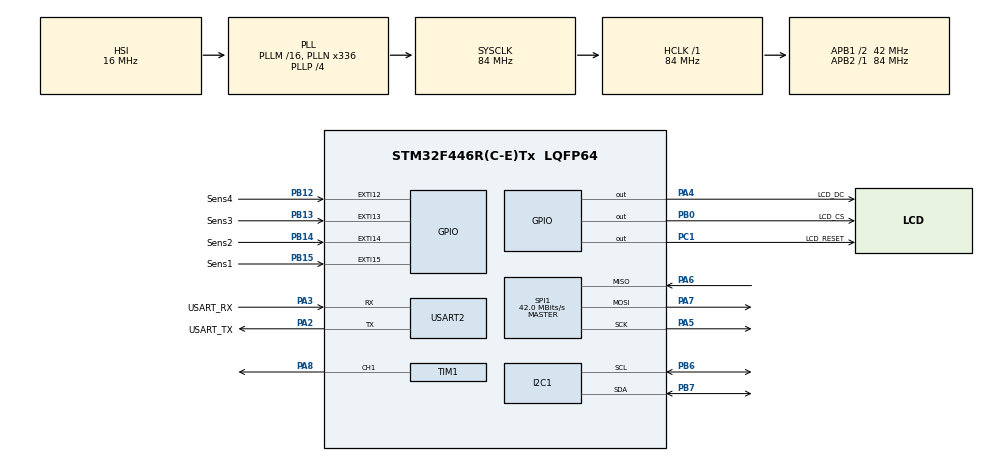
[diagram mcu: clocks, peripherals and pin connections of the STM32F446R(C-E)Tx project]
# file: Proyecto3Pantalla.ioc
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I2C1.OwnAddress=0x27
IWDG.Prescaler=IWDG_PRESCALER_64
Mcu.Family=STM32F4
Mcu.Name=STM32F446R(C-E)Tx
Mcu.Package=LQFP64
NVIC.EXTI15_10_IRQn=true\:0\:0\:false\:false\:true\:true\:true\:true
NVIC.I2C1_ER_IRQn=true\:0\:0\:false\:false\:true\:true\:true\:true
NVIC.I2C1_EV_IRQn=true\:0\:0\:false\:false\:true\:true\:true\:true
NVIC.PriorityGroup=NVIC_PRIORITYGROUP_0
PA13.GPIO_Label=TMS
PA13.Mode=Serial_Wire
PA13.Signal=SYS_JTMS-SWDIO
PA14.GPIO_Label=TCK
PA14.Mode=Serial_Wire
PA14.Signal=SYS_JTCK-SWCLK
PA2.GPIO_Label=USART_TX
PA2.Mode=Asynchronous
PA2.Signal=USART2_TX
PA3.GPIO_Label=USART_RX
PA3.Mode=Asynchronous
PA3.Signal=USART2_RX
PA4.GPIO_Label=LCD_DC
PA4.Signal=GPIO_Output
PA5.Mode=Full_Duplex_Master
PA5.Signal=SPI1_SCK
PA6.Mode=Full_Duplex_Master
PA6.Signal=SPI1_MISO
PA7.Mode=Full_Duplex_Master
PA7.Signal=SPI1_MOSI
PA8.Signal=S_TIM1_CH1
PB0.GPIO_Label=LCD_CS
PB0.Signal=GPIO_Output
PB12.GPIO_Label=Sens4
PB12.GPIO_ModeDefaultEXTI=GPIO_MODE_IT_RISING_FALLING
PB12.GPIO_PuPd=GPIO_PULLUP
PB12.Signal=GPXTI12
PB13.GPIO_Label=Sens3
PB13.GPIO_ModeDefaultEXTI=GPIO_MODE_IT_RISING_FALLING
PB13.GPIO_PuPd=GPIO_PULLUP
PB13.Signal=GPXTI13
PB14.GPIO_Label=Sens2
PB14.GPIO_ModeDefaultEXTI=GPIO_MODE_IT_RISING_FALLING
PB14.GPIO_PuPd=GPIO_PULLUP
PB14.Signal=GPXTI14
PB15.GPIO_Label=Sens1
PB15.GPIO_ModeDefaultEXTI=GPIO_MODE_IT_RISING_FALLING
PB15.GPIO_PuPd=GPIO_PULLUP
PB15.Signal=GPXTI15
PB3.GPIO_Label=SWO
PB3.Signal=SYS_JTDO-SWO
PB6.Mode=I2C
PB6.Signal=I2C1_SCL
PB7.Mode=I2C
PB7.Signal=I2C1_SDA
PC1.GPIO_Label=LCD_RESET
PC1.Signal=GPIO_Output
PC14-OSC32_IN.Mode=LSE-External-Oscillator
PC14-OSC32_IN.Signal=RCC_OSC32_IN
PC15-OSC32_OUT.Mode=LSE-External-Oscillator
PC15-OSC32_OUT.Signal=RCC_OSC32_OUT
PH0-OSC_IN.Mode=HSE-External-Oscillator
PH0-OSC_IN.Signal=RCC_OSC_IN
PH1-OSC_OUT.Mode=HSE-External-Oscillator
PH1-OSC_OUT.Signal=RCC_OSC_OUT
ProjectManager.HeapSize=0x200
ProjectManager.StackSize=0x400
ProjectManager.TargetToolchain=STM32CubeIDE
RCC.48MHZClocksFreq_Value=84000000
RCC.AHBFreq_Value=84000000
RCC.APB1CLKDivider=RCC_HCLK_DIV2
RCC.APB1Freq_Value=42000000
RCC.APB1TimFreq_Value=84000000
RCC.APB2Freq_Value=84000000
RCC.APB2TimFreq_Value=84000000
RCC.CortexFreq_Value=84000000
RCC.FLatency-AdvancedSettings=FLASH_LATENCY_2
RCC.HCLKFreq_Value=84000000
RCC.HSE_VALUE=8000000
RCC.HSI_VALUE=16000000
RCC.PLLN=336
RCC.PLLP=RCC_PLLP_DIV4
RCC.SYSCLKFreq_VALUE=84000000
RCC.SYSCLKSource=RCC_SYSCLKSOURCE_PLLCLK
RCC.USBFreq_Value=168000000
RCC.VCOOutputFreq_Value=336000000
SH.S_TIM1_CH1.0=TIM1_CH1,PWM Generation1 CH1
SPI1.CalculateBaudRate=42.0 MBits/s
SPI1.Direction=SPI_DIRECTION_2LINES
SPI1.Mode=SPI_MODE_MASTER
SPI1.VirtualType=VM_MASTER
TIM1.Channel-PWM\ Generation1\ CH1=TIM_CHANNEL_1
TIM1.Period=105-1
USART2.VirtualMode=VM_ASYNC
VP_IWDG_VS_IWDG.Mode=IWDG_Activate
VP_TIM1_VS_ClockSourceINT.Mode=Internal
board=NUCLEO-F446RE

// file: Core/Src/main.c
/* USER CODE BEGIN Header */
/**
  ******************************************************************************
  * @file           : main.c
  * @brief          : Main program body
  ******************************************************************************
  * @attention
  *
  * Copyright (c) 2026 STMicroelectronics.
  * All rights reserved.
  *
  * This software is licensed under terms that can be found in the LICENSE file
  * in the root directory of this software component.
  * If no LICENSE file comes with this software, it is provided AS-IS.
  *
  ******************************************************************************
  */
/* USER CODE END Header */
#include "main.h"

/* USER CODE BEGIN Includes */
#include "ili9341.h"
#include "bitmaps.h"
#include <string.h>
#include <stdio.h>
#include <NeoPixel.h>
/* USER CODE END Includes */

/* USER CODE BEGIN PD */
#define TXbuffersize 4
#define RXbuffersize 4
/* USER CODE END PD */

I2C_HandleTypeDef hi2c1;

IWDG_HandleTypeDef hiwdg;

SPI_HandleTypeDef hspi1;

TIM_HandleTypeDef htim1;

UART_HandleTypeDef huart2;

/* USER CODE BEGIN PV */
uint8_t ParqDisp = 8;
uint8_t prevSens1 = 1;
uint8_t prevSens2 = 1;
uint8_t prevSens3 = 1;
uint8_t prevSens4 = 1;
uint8_t l_flag = 0;
uint8_t EstadoParqueos = 0x00;
//Variables de I2C
int count=0;
uint8_t aTxBuffer[TXbuffersize];
uint8_t aRxBuffer[RXbuffersize];
volatile uint8_t flag_park_received = 0;
volatile uint8_t estadoParqueo_ESP32 = 0;
uint8_t prevEstadoESP32 = 0xFF;
//Variables de watchdog timmer para reiniciar comunicacion I2C
volatile uint32_t i2c_last_activity = 0;
volatile uint8_t i2c_error_flag = 0;
#define I2C_TIMEOUT_MS 5000

//Neopixeles
uint8_t RGB1[3];
uint8_t RGB2[3];
uint8_t RGB3[3];
uint8_t RGB4[3];
/* USER CODE END PV */

void SystemClock_Config(void);
static void MX_GPIO_Init(void);
static void MX_I2C1_Init(void);
static void MX_SPI1_Init(void);
static void MX_TIM1_Init(void);
static void MX_USART2_UART_Init(void);
static void MX_IWDG_Init(void);
/* USER CODE BEGIN PFP */
void update_neopixels();
void update_colors(uint8_t flagSensor, uint8_t RGB[2],uint8_t compare);
void update_park(uint8_t flagSensor);
/* USER CODE END PFP */

/* USER CODE BEGIN 0 */
void update_neopixels(){
	pixelClear();
	setPixelColor(0, RGB1[0], RGB1[1],RGB1[2]);
	setPixelColor(1, RGB2[0], RGB2[1],RGB2[2]);
	setPixelColor(2, RGB3[0], RGB3[1],RGB3[2]);
	setPixelColor(3, RGB4[0], RGB4[1],RGB4[2]);
	setBrightness(70);
	pixelShow();
}

//Esta funcion es para facilitar el cambio de color en base a flags
void update_colors(uint8_t flagSensor, uint8_t RGB[3],uint8_t compare){
	if ((flagSensor & compare) == compare){
		  RGB[1]=0;
		  RGB[0]=255;
	  }
	  else if ((flagSensor & (compare<<4)) == (compare<<4)){
		  RGB[0]=0;
		  RGB[1]=255;
	  }
}

void update_park(uint8_t flagSensor){
	update_colors(flagSensor, RGB1,0x01);
	update_colors(flagSensor, RGB2,0x02);
	update_colors(flagSensor, RGB3,0x04);
	update_colors(flagSensor, RGB4,0x08);
}
/* USER CODE END 0 */

int main(void)
{

  /* MCU Configuration--------------------------------------------------------*/

  /* Reset of all peripherals, Initializes the Flash interface and the Systick. */
  HAL_Init();

  /* Configure the system clock */
  SystemClock_Config();

  /* Initialize all configured peripherals */
  MX_GPIO_Init();
  MX_I2C1_Init();
  MX_SPI1_Init();
  MX_TIM1_Init();
  MX_USART2_UART_Init();
  MX_IWDG_Init();
  /* USER CODE BEGIN 2 */
  LCD_Init();

  LCD_Clear(0x00);
  LCD_Bitmap(0, 0, 320, 240, hs);

  // Detectar si el reset fue causado por el IWDG
    if (__HAL_RCC_GET_FLAG(RCC_FLAG_IWDGRST)){
        __HAL_RCC_CLEAR_RESET_FLAGS();
        HAL_UART_Transmit(&huart2,
            (uint8_t*)"Reset por IWDG - I2C recuperado\r\n", 33, 100);
    }
    if (HAL_I2C_EnableListen_IT(&hi2c1) != HAL_OK){
    	  Error_Handler();
      }
  /* USER CODE END 2 */

  /* Infinite loop */
  while (1)
  {

    /* USER CODE BEGIN 3 */
	  HAL_IWDG_Refresh(&hiwdg);

	  // Si hay un error en el i2c reinciara y se ejecutara esta instrucción.
	  /*
	  if (i2c_error_flag){
		  i2c_error_flag = 0;
		  // Azul = error detectado
		  RGB1[2]=255; RGB1[0]=0; RGB1[1]=0;
		  RGB2[2]=255; RGB2[0]=0; RGB2[1]=0;
		  RGB3[2]=255; RGB3[0]=0; RGB3[1]=0;
		  RGB4[2]=255; RGB4[0]=0; RGB4[1]=0;
		  update_neopixels();
		  HAL_Delay(500);
		  // Volver a verde
		  RGB1[2]=0; RGB1[1]=255; RGB1[0]=0;
		  RGB2[2]=0; RGB2[1]=255; RGB2[0]=0;
		  RGB3[2]=0; RGB3[1]=255; RGB3[0]=0;
		  RGB4[2]=0; RGB4[1]=255; RGB4[0]=0;
		  update_neopixels();
		  HAL_UART_Transmit(&huart2,
				(uint8_t*)"I2C Error recuperado\r\n", 22, 100);
		}
		*/
	  //Revision de parqueo 1 al 4 enviados por ESP32
	  if (flag_park_received){
	      flag_park_received = 0;

	      // Recorrer los 4 bits del estado remoto (parqueos 1-4)
	      for (int i = 0; i < 4; i++){
	          uint8_t bitActual  = (estadoParqueo_ESP32 >> i) & 0x01;
	          uint8_t bitAnterior = (prevEstadoESP32   >> i) & 0x01;

	          if (bitAnterior == 0 && bitActual == 1){
	              // Parqueo remoto i+1 se OCUPÓ
	              ParqDisp--;
	              l_flag = i + 1;  // parqueos 1,2,3,4 → l_flag 1,2,3,4 (LED rojo arriba)
	          }
	          else if (bitAnterior == 1 && bitActual == 0){
	              // Parqueo remoto i+1 se LIBERÓ
	              ParqDisp++;
	              l_flag = i + 9;  // parqueos 1,2,3,4 → l_flag 9,10,11,12 (LED verde arriba)
	          }
	      }

	      prevEstadoESP32 = estadoParqueo_ESP32;
	  }

	  // Watchdog I2C Segunda contramedida para revivir comunicacion I2C
	  	  if (i2c_last_activity != 0 &&
	  	     (HAL_GetTick() - i2c_last_activity) > I2C_TIMEOUT_MS){
	  		  HAL_UART_Transmit(&huart2, (uint8_t*)"Watchdog I2C activado\r\n", 23, 100);
	  		  i2c_last_activity = HAL_GetTick();
	  		  // Reiniciar el I2C si lleva más de 5s sin actividad
	  		  HAL_I2C_DeInit(&hi2c1);
	  		  HAL_Delay(10);
	  		  HAL_I2C_Init(&hi2c1);
	  		  HAL_I2C_EnableListen_IT(&hi2c1);
	  	  }
	  	HAL_Delay(10);

	  switch (ParqDisp){
	  case 8:
		  LCD_Bitmap(40, 107, 18, 26, ocho);
		  break;
	  case 7:
		  LCD_Bitmap(40, 107, 18, 26, siete);
		  break;
	  case 6:
		  LCD_Bitmap(40, 107, 18, 26, seis);
		  break;
	  case 5:
		  LCD_Bitmap(40, 107, 18, 26, cinco);
		  break;
	  case 4:
		  LCD_Bitmap(40, 107, 18, 26, cuatro);
		  break;
	  case 3:
		  LCD_Bitmap(40, 107, 18, 26, tres);
		  break;
	  case 2:
		  LCD_Bitmap(40, 107, 18, 26, dos);
		  break;
	  case 1:
		  LCD_Bitmap(40, 107, 18, 26, uno);
		  break;
	  case 0:
		  LCD_Bitmap(40, 107, 18, 26, cero);
		  break;

	  }
	  switch (l_flag)
	  	  {
	  	  case 1:
	  		  LCD_Bitmap(96,16, 16, 16, redL);
	  		  break;
	  	  case 2:
	  		  LCD_Bitmap(160,16, 16, 16, redL);
	  		  break;
	  	  case 3:
	  		  LCD_Bitmap(224,16, 16, 16, redL);
	  		  break;
	  	  case 4:
	  		  LCD_Bitmap(288,16, 16, 16, redL);
	  		  break;
	  	  case 5:
	  		  LCD_Bitmap(96,208, 16, 16, redL);
	  		  break;
	  	  case 6:
	  		  LCD_Bitmap(160,208, 16, 16, redL);
	  		  break;
	  	  case 7:
	  		  LCD_Bitmap(224,205, 16, 16, redL);
	  		  break;
	  	  case 8:
	  		  LCD_Bitmap(288,205, 16, 16, redL);
	  		  break;
	  	  case 9:
	  		  LCD_Bitmap(96,16, 16, 16, greenL);
	  		  break;
	  	  case 10:
	  		  LCD_Bitmap(160,16, 16, 16, greenL);
	  		  break;
	  	  case 11:
	  		  LCD_Bitmap(224,16, 16, 16, greenL);
	  		  break;
	  	  case 12:
	  		  LCD_Bitmap(288,16, 16, 16, greenL);
	  		  break;
	  	  case 13:
	  		  LCD_Bitmap(96,208, 16, 16, greenL);
	  		  break;
	  	  case 14:
	  		  LCD_Bitmap(160,208, 16, 16, greenL);
	  		  break;
	  	  case 15:
	  		  LCD_Bitmap(224,208, 16, 16, greenL);
	  		  break;
	  	  case 16:
	  		  LCD_Bitmap(288,208, 16, 16, greenL);
	  		  break;
	  	  }
  }
  /* USER CODE END 3 */
}

void SystemClock_Config(void)
{
  RCC_OscInitTypeDef RCC_OscInitStruct = {0};
  RCC_ClkInitTypeDef RCC_ClkInitStruct = {0};

  /** Configure the main internal regulator output voltage
  */
  __HAL_RCC_PWR_CLK_ENABLE();
  __HAL_PWR_VOLTAGESCALING_CONFIG(PWR_REGULATOR_VOLTAGE_SCALE3);

  /** Initializes the RCC Oscillators according to the specified parameters
  * in the RCC_OscInitTypeDef structure.
  */
  RCC_OscInitStruct.OscillatorType = RCC_OSCILLATORTYPE_HSI|RCC_OSCILLATORTYPE_LSI;
  RCC_OscInitStruct.HSIState = RCC_HSI_ON;
  RCC_OscInitStruct.HSICalibrationValue = RCC_HSICALIBRATION_DEFAULT;
  RCC_OscInitStruct.LSIState = RCC_LSI_ON;
  RCC_OscInitStruct.PLL.PLLState = RCC_PLL_ON;
  RCC_OscInitStruct.PLL.PLLSource = RCC_PLLSOURCE_HSI;
  RCC_OscInitStruct.PLL.PLLM = 16;
  RCC_OscInitStruct.PLL.PLLN = 336;
  RCC_OscInitStruct.PLL.PLLP = RCC_PLLP_DIV4;
  RCC_OscInitStruct.PLL.PLLQ = 2;
  RCC_OscInitStruct.PLL.PLLR = 2;
  if (HAL_RCC_OscConfig(&RCC_OscInitStruct) != HAL_OK)
  {
    Error_Handler();
  }

  /** Initializes the CPU, AHB and APB buses clocks
  */
  RCC_ClkInitStruct.ClockType = RCC_CLOCKTYPE_HCLK|RCC_CLOCKTYPE_SYSCLK
                              |RCC_CLOCKTYPE_PCLK1|RCC_CLOCKTYPE_PCLK2;
  RCC_ClkInitStruct.SYSCLKSource = RCC_SYSCLKSOURCE_PLLCLK;
  RCC_ClkInitStruct.AHBCLKDivider = RCC_SYSCLK_DIV1;
  RCC_ClkInitStruct.APB1CLKDivider = RCC_HCLK_DIV2;
  RCC_ClkInitStruct.APB2CLKDivider = RCC_HCLK_DIV1;

  if (HAL_RCC_ClockConfig(&RCC_ClkInitStruct, FLASH_LATENCY_2) != HAL_OK)
  {
    Error_Handler();
  }
}

static void MX_I2C1_Init(void)
{

  hi2c1.Instance = I2C1;
  hi2c1.Init.ClockSpeed = 100000;
  hi2c1.Init.DutyCycle = I2C_DUTYCYCLE_2;
  hi2c1.Init.OwnAddress1 = 78;
  hi2c1.Init.AddressingMode = I2C_ADDRESSINGMODE_7BIT;
  hi2c1.Init.DualAddressMode = I2C_DUALADDRESS_DISABLE;
  hi2c1.Init.OwnAddress2 = 0;
  hi2c1.Init.GeneralCallMode = I2C_GENERALCALL_DISABLE;
  hi2c1.Init.NoStretchMode = I2C_NOSTRETCH_DISABLE;
  if (HAL_I2C_Init(&hi2c1) != HAL_OK)
  {
    Error_Handler();
  }

}

static void MX_IWDG_Init(void)
{

  hiwdg.Instance = IWDG;
  hiwdg.Init.Prescaler = IWDG_PRESCALER_64;
  hiwdg.Init.Reload = 4095;
  if (HAL_IWDG_Init(&hiwdg) != HAL_OK)
  {
    Error_Handler();
  }

}

static void MX_SPI1_Init(void)
{

  /* SPI1 parameter configuration*/
  hspi1.Instance = SPI1;
  hspi1.Init.Mode = SPI_MODE_MASTER;
  hspi1.Init.Direction = SPI_DIRECTION_2LINES;
  hspi1.Init.DataSize = SPI_DATASIZE_8BIT;
  hspi1.Init.CLKPolarity = SPI_POLARITY_LOW;
  hspi1.Init.CLKPhase = SPI_PHASE_1EDGE;
  hspi1.Init.NSS = SPI_NSS_SOFT;
  hspi1.Init.BaudRatePrescaler = SPI_BAUDRATEPRESCALER_2;
  hspi1.Init.FirstBit = SPI_FIRSTBIT_MSB;
  hspi1.Init.TIMode = SPI_TIMODE_DISABLE;
  hspi1.Init.CRCCalculation = SPI_CRCCALCULATION_DISABLE;
  hspi1.Init.CRCPolynomial = 10;
  if (HAL_SPI_Init(&hspi1) != HAL_OK)
  {
    Error_Handler();
  }

}

static void MX_TIM1_Init(void)
{

  TIM_ClockConfigTypeDef sClockSourceConfig = {0};
  TIM_MasterConfigTypeDef sMasterConfig = {0};
  TIM_OC_InitTypeDef sConfigOC = {0};
  TIM_BreakDeadTimeConfigTypeDef sBreakDeadTimeConfig = {0};

  htim1.Instance = TIM1;
  htim1.Init.Prescaler = 0;
  htim1.Init.CounterMode = TIM_COUNTERMODE_UP;
  htim1.Init.Period = 105-1;
  htim1.Init.ClockDivision = TIM_CLOCKDIVISION_DIV1;
  htim1.Init.RepetitionCounter = 0;
  htim1.Init.AutoReloadPreload = TIM_AUTORELOAD_PRELOAD_DISABLE;
  if (HAL_TIM_Base_Init(&htim1) != HAL_OK)
  {
    Error_Handler();
  }
  sClockSourceConfig.ClockSource = TIM_CLOCKSOURCE_INTERNAL;
  if (HAL_TIM_ConfigClockSource(&htim1, &sClockSourceConfig) != HAL_OK)
  {
    Error_Handler();
  }
  if (HAL_TIM_PWM_Init(&htim1) != HAL_OK)
  {
    Error_Handler();
  }
  sMasterConfig.MasterOutputTrigger = TIM_TRGO_RESET;
  sMasterConfig.MasterSlaveMode = TIM_MASTERSLAVEMODE_DISABLE;
  if (HAL_TIMEx_MasterConfigSynchronization(&htim1, &sMasterConfig) != HAL_OK)
  {
    Error_Handler();
  }
  sConfigOC.OCMode = TIM_OCMODE_PWM1;
  sConfigOC.Pulse = 0;
  sConfigOC.OCPolarity = TIM_OCPOLARITY_HIGH;
  sConfigOC.OCNPolarity = TIM_OCNPOLARITY_HIGH;
  sConfigOC.OCFastMode = TIM_OCFAST_DISABLE;
  sConfigOC.OCIdleState = TIM_OCIDLESTATE_RESET;
  sConfigOC.OCNIdleState = TIM_OCNIDLESTATE_RESET;
  if (HAL_TIM_PWM_ConfigChannel(&htim1, &sConfigOC, TIM_CHANNEL_1) != HAL_OK)
  {
    Error_Handler();
  }
  sBreakDeadTimeConfig.OffStateRunMode = TIM_OSSR_DISABLE;
  sBreakDeadTimeConfig.OffStateIDLEMode = TIM_OSSI_DISABLE;
  sBreakDeadTimeConfig.LockLevel = TIM_LOCKLEVEL_OFF;
  sBreakDeadTimeConfig.DeadTime = 0;
  sBreakDeadTimeConfig.BreakState = TIM_BREAK_DISABLE;
  sBreakDeadTimeConfig.BreakPolarity = TIM_BREAKPOLARITY_HIGH;
  sBreakDeadTimeConfig.AutomaticOutput = TIM_AUTOMATICOUTPUT_DISABLE;
  if (HAL_TIMEx_ConfigBreakDeadTime(&htim1, &sBreakDeadTimeConfig) != HAL_OK)
  {
    Error_Handler();
  }
  HAL_TIM_MspPostInit(&htim1);

}

static void MX_USART2_UART_Init(void)
{

  huart2.Instance = USART2;
  huart2.Init.BaudRate = 115200;
  huart2.Init.WordLength = UART_WORDLENGTH_8B;
  huart2.Init.StopBits = UART_STOPBITS_1;
  huart2.Init.Parity = UART_PARITY_NONE;
  huart2.Init.Mode = UART_MODE_TX_RX;
  huart2.Init.HwFlowCtl = UART_HWCONTROL_NONE;
  huart2.Init.OverSampling = UART_OVERSAMPLING_16;
  if (HAL_UART_Init(&huart2) != HAL_OK)
  {
    Error_Handler();
  }

}

static void MX_GPIO_Init(void)
{
  GPIO_InitTypeDef GPIO_InitStruct = {0};

  /* GPIO Ports Clock Enable */
  __HAL_RCC_GPIOC_CLK_ENABLE();
  __HAL_RCC_GPIOH_CLK_ENABLE();
  __HAL_RCC_GPIOA_CLK_ENABLE();
  __HAL_RCC_GPIOB_CLK_ENABLE();

  /*Configure GPIO pin Output Level */
  HAL_GPIO_WritePin(LCD_RESET_GPIO_Port, LCD_RESET_Pin, GPIO_PIN_RESET);

  /*Configure GPIO pin Output Level */
  HAL_GPIO_WritePin(LCD_DC_GPIO_Port, LCD_DC_Pin, GPIO_PIN_RESET);

  /*Configure GPIO pin Output Level */
  HAL_GPIO_WritePin(LCD_CS_GPIO_Port, LCD_CS_Pin, GPIO_PIN_RESET);

  /*Configure GPIO pin : LCD_RESET_Pin */
  GPIO_InitStruct.Pin = LCD_RESET_Pin;
  GPIO_InitStruct.Mode = GPIO_MODE_OUTPUT_PP;
  GPIO_InitStruct.Pull = GPIO_NOPULL;
  GPIO_InitStruct.Speed = GPIO_SPEED_FREQ_LOW;
  HAL_GPIO_Init(LCD_RESET_GPIO_Port, &GPIO_InitStruct);

  /*Configure GPIO pin : LCD_DC_Pin */
  GPIO_InitStruct.Pin = LCD_DC_Pin;
  GPIO_InitStruct.Mode = GPIO_MODE_OUTPUT_PP;
  GPIO_InitStruct.Pull = GPIO_NOPULL;
  GPIO_InitStruct.Speed = GPIO_SPEED_FREQ_LOW;
  HAL_GPIO_Init(LCD_DC_GPIO_Port, &GPIO_InitStruct);

  /*Configure GPIO pin : LCD_CS_Pin */
  GPIO_InitStruct.Pin = LCD_CS_Pin;
  GPIO_InitStruct.Mode = GPIO_MODE_OUTPUT_PP;
  GPIO_InitStruct.Pull = GPIO_NOPULL;
  GPIO_InitStruct.Speed = GPIO_SPEED_FREQ_LOW;
  HAL_GPIO_Init(LCD_CS_GPIO_Port, &GPIO_InitStruct);

  /*Configure GPIO pins : Sens4_Pin Sens3_Pin Sens2_Pin Sens1_Pin */
  GPIO_InitStruct.Pin = Sens4_Pin|Sens3_Pin|Sens2_Pin|Sens1_Pin;
  GPIO_InitStruct.Mode = GPIO_MODE_IT_RISING_FALLING;
  GPIO_InitStruct.Pull = GPIO_PULLUP;
  HAL_GPIO_Init(GPIOB, &GPIO_InitStruct);

  /* EXTI interrupt init*/
  HAL_NVIC_SetPriority(EXTI15_10_IRQn, 0, 0);
  HAL_NVIC_EnableIRQ(EXTI15_10_IRQn);

}

/* USER CODE BEGIN 4 */
void HAL_GPIO_EXTI_Callback(uint16_t GPIO_Pin)
{
    if (GPIO_Pin == Sens1_Pin)
    {
        uint8_t curr = HAL_GPIO_ReadPin(GPIOB, Sens1_Pin);

        if (prevSens1 == 1 && curr == 0)
        {
            ParqDisp--;
            EstadoParqueos |= (1 << 0);
            l_flag = 5;
        }
        else if (prevSens1 == 0 && curr == 1)
        {
            ParqDisp++;
            EstadoParqueos &= ~(1 << 0);
            l_flag = 13;
        }

        prevSens1 = curr;
    }
    else if (GPIO_Pin == Sens2_Pin)
    {
        uint8_t curr = HAL_GPIO_ReadPin(GPIOB, Sens2_Pin);

        if (prevSens2 == 1 && curr == 0)
        {
            ParqDisp--;
            EstadoParqueos |= (1 << 1);
            l_flag = 6;
        }
        else if (prevSens2 == 0 && curr == 1)
        {
            ParqDisp++;
            EstadoParqueos &= ~(1 << 1);
            l_flag = 14;
        }

        prevSens2 = curr;
    }
    else if (GPIO_Pin == Sens3_Pin)
    {
        uint8_t curr = HAL_GPIO_ReadPin(GPIOB, Sens3_Pin);

        if (prevSens3 == 1 && curr == 0)
        {
            ParqDisp--;
            EstadoParqueos |= (1 << 2);
            l_flag = 7;
        }
        else if (prevSens3 == 0 && curr == 1)
        {
            ParqDisp++;
            EstadoParqueos &= ~(1 << 2);
            l_flag = 15;
        }

        prevSens3 = curr;
    }
    else if (GPIO_Pin == Sens4_Pin)
    {
        uint8_t curr = HAL_GPIO_ReadPin(GPIOB, Sens4_Pin);

        if (prevSens4 == 1 && curr == 0)
        {
            ParqDisp--;
            EstadoParqueos |= (1 << 3);
            l_flag = 8;
        }
        else if (prevSens4 == 0 && curr == 1)
        {
            ParqDisp++;
            EstadoParqueos &= ~(1 << 3);
            l_flag = 16;
        }

        prevSens4 = curr;
    }
}
void HAL_I2C_ListenCpltCallback(I2C_HandleTypeDef *hi2c){
	HAL_I2C_EnableListen_IT(hi2c);
}

void HAL_I2C_AddrCallback(I2C_HandleTypeDef *hi2c, uint8_t TransferDirection, uint16_t AddrMatchCode){
	//Cuando el maestro quiere transmitir y el slave recibe
	if (TransferDirection == I2C_DIRECTION_TRANSMIT){
		if (HAL_I2C_Slave_Seq_Receive_IT(&hi2c1, (uint8_t*) aRxBuffer,2, I2C_FIRST_AND_LAST_FRAME) != HAL_OK )
		{
			Error_Handler();
		}
	}
	//Cuando el maestro quiere recebir y el slave transmite
	else if(TransferDirection == I2C_DIRECTION_RECEIVE) {
		if (HAL_I2C_Slave_Seq_Transmit_IT(&hi2c1, &aTxBuffer[0],1, I2C_FIRST_AND_LAST_FRAME) != HAL_OK )
			{
				Error_Handler();
			}
	}
}

void HAL_I2C_SlaveRxCpltCallback(I2C_HandleTypeDef *I2cHandle){
	i2c_last_activity = HAL_GetTick(); //Actualizar timestamp
	// Comando 'S' — solicitud de estado local
	    if (aRxBuffer[0] == 'S'){
	        //HAL_GPIO_TogglePin(LD2_GPIO_Port, LD2_Pin);
	        aTxBuffer[0] = EstadoParqueos;  // estado local de esta Nucleo
	    }
	    // Comando 'P' — ESP32 envía estado global de los 8 parqueos
	    else if (aRxBuffer[0] == 'P'){
	        estadoParqueo_ESP32 = aRxBuffer[1];  // guardar estado completo
	        flag_park_received = 1;              // avisar al while(1)
	        //HAL_GPIO_TogglePin(LD2_GPIO_Port,LD2_Pin);
	    }

	    // Limpiar buffer
	    aRxBuffer[0] = 0x00;
	    aRxBuffer[1] = 0x00;
}

void HAL_I2C_SlaveTxCpltCallback(I2C_HandleTypeDef *I2cHandle){
	 i2c_last_activity = HAL_GetTick();  // actualizar timestamp también aquí
}

void HAL_I2C_ErrorCallback(I2C_HandleTypeDef *I2cHandle){

	if (HAL_I2C_GetError(I2cHandle) == HAL_I2C_ERROR_AF){
		// Error normal, re-habilitar escucha
		HAL_I2C_EnableListen_IT(I2cHandle);
	} else {

		//Primera contramedida para revivir el bus de I2C
		// Error grave — resetear el periférico SIN delays
		HAL_I2C_DeInit(I2cHandle);
		HAL_I2C_Init(I2cHandle);
		// 2. Re-habilitar escucha
		HAL_I2C_EnableListen_IT(I2cHandle);
		 i2c_error_flag = 1;
		// 3. Señal visual de que hubo error pero se recuperó
	}

}
/* USER CODE END 4 */

void Error_Handler(void)
{
  __disable_irq();
  while (1)
  {
  }
}
